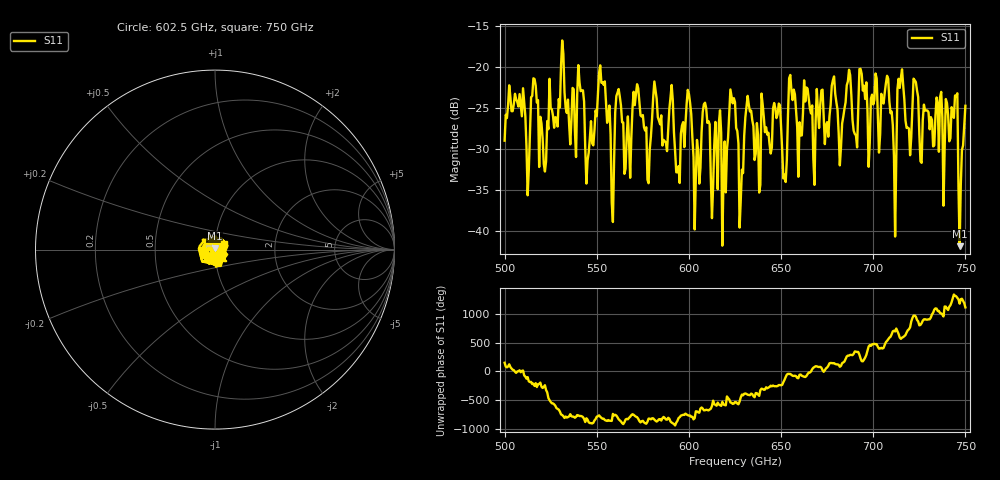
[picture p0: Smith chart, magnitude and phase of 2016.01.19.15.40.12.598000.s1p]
!Created with skrf (http://scikit-rf.org).
# GHz S RI R 50.0
!freq ReS11 ImS11
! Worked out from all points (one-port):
!   401 points, 500 GHz to 750 GHz, reference 50 ohm
!   lowest |S11| = -41.9 dB at 746.9 GHz (marker M1), VSWR 1.02, Z = 49.9 + j0.803 ohm
!   |S11| at or under -10 dB: start of sweep to end of sweep
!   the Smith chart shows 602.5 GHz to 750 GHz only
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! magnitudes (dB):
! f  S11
! 500 GHz  -29.0
! 512.5 GHz  -35.7
! 515.6 GHz  -21.4
! 521.9 GHz  -32.8
! 531.2 GHz  -16.8
! 541.2 GHz  -23.0
! 545 GHz  -31.4
! 551.9 GHz  -19.8
! 558.8 GHz  -38.9
! 562.5 GHz  -23.6
! 578.1 GHz  -34.2
! 590.6 GHz  -22.2
! 593.8 GHz  -32.9
! 600 GHz  -23.3
! 604.4 GHz  -28.9
! 608.8 GHz  -24.4
! 619.4 GHz  -29.1
! 625 GHz  -24.3
! 628.1 GHz  -36.2
! 632.5 GHz  -24.6
! 651.9 GHz  -33.1
! 656.2 GHz  -24.0
! 660 GHz  -26.8
! 687.5 GHz  -21.0
! 718.8 GHz  -27.4
! 744.4 GHz  -23.5
! 746.9 GHz  -41.9
! 750 GHz  -24.7
